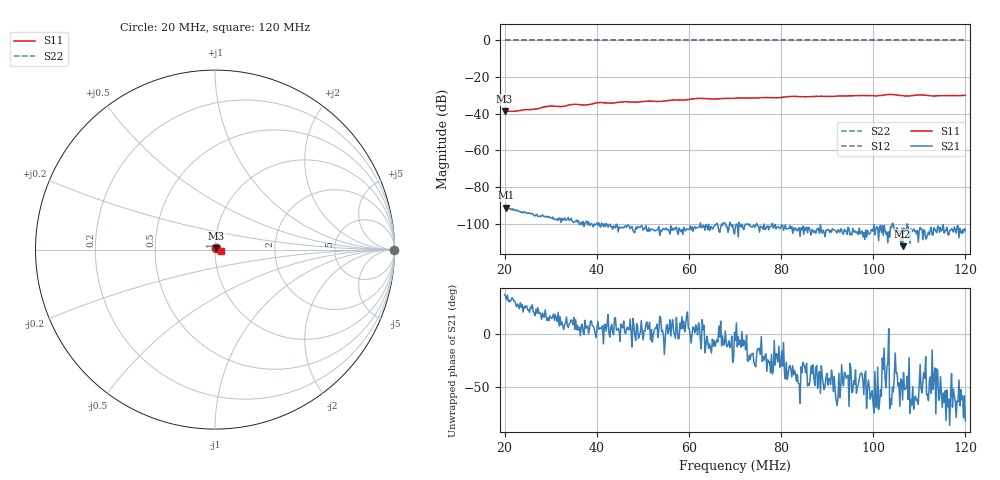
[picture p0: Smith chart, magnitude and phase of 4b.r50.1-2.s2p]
! Anritsu VNA Master:  Model: MS2036C/10/77
! SN:  1601066
! /bd0/18may26.balun/4b.r50.s2p
! Existing Calibration Information:
! TYPE:  Current Settings,  Active Cal Settings
! TIME:  05/26/2018 04:43:00 PM,  05/26/2018 04:28:16 PM
! INTERNAL TEMP:  55.3 C,  56.3 C
! # POINTS:  500,  500
! START FREQ:  20.000 MHz,  20.000 MHz
! STOP FREQ:  120.000 MHz,  120.000 MHz
! SOURCE POWER:  High,  High
! IFBW:  50 Hz,  50 Hz
! AVG FACTOR:  1 ,  1
! REF PLANE 1:  0 mm,  0 mm
! REF PLANE 2:  0 mm,  0 mm
! CAL TYPE:  Full S11,  Full S11
! CAL METHOD:  SOLT,  SOLT
! CAL LINE TYPE:  Coax,  Coax
! DUT PORT 1:  K-Conn(M),  K-Conn(M)
! DUT PORT 2:  K-Conn(M),  K-Conn(M)
! CAL STATUS:  OK: Accuracy High,  --
# GHZ S DB R 50.0
! FREQ.GHZ  S11DB  S11A  S21DB  S21A  S12DB  S12A  S22DB  S22A
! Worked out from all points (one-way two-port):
!   500 points, 20 MHz to 120 MHz, reference 50 ohm
!   highest |S21| = -91.27 dB at 20.4 MHz (marker M1); lowest = -112.3 dB at 106.4 MHz (marker M2)
!   lowest |S11| = -38.7 dB at 20 MHz (marker M3), VSWR 1.02, Z = 50.7 + j0.894 ohm
!   |S11| at or under -10 dB: start of sweep to end of sweep
!   |S22| runs from 0.0 to 0.0 dB; largest |S21 - S12| = 1
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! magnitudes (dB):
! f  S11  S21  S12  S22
! 20 MHz  -38.7  -91.5  0.0  0.0
! 20.4 MHz  -38.7  -91.3  0.0  0.0
! 26.61 MHz  -37.5  -95.7  0.0  0.0
! 29.82 MHz  -35.8  -96.4  0.0  0.0
! 32.22 MHz  -36.1  -99.3  0.0  0.0
! 34.83 MHz  -35.0  -99.0  0.0  0.0
! 36.83 MHz  -35.1  -100.7  0.0  0.0
! 38.24 MHz  -35.1  -99.0  0.0  0.0
! 40.44 MHz  -33.9  -99.5  0.0  0.0
! 43.25 MHz  -34.2  -101.4  0.0  0.0
! 45.85 MHz  -33.5  -102.4  0.0  0.0
! 53.47 MHz  -33.3  -101.6  0.0  0.0
! 62.08 MHz  -31.6  -101.9  0.0  0.0
! 65.29 MHz  -31.9  -102.3  0.0  0.0
! 70.1 MHz  -31.5  -101.4  0.0  0.0
! 86.73 MHz  -30.6  -103.1  0.0  0.0
! 100.6 MHz  -30.3  -103.0  0.0  0.0
! 103.4 MHz  -29.5  -104.5  0.0  0.0
! 106.4 MHz  -30.1  -112.3  0.0  0.0
! 110.2 MHz  -29.7  -102.1  0.0  0.0
! 113.2 MHz  -30.2  -102.2  0.0  0.0
! 120 MHz  -29.9  -103.5  0.0  0.0
